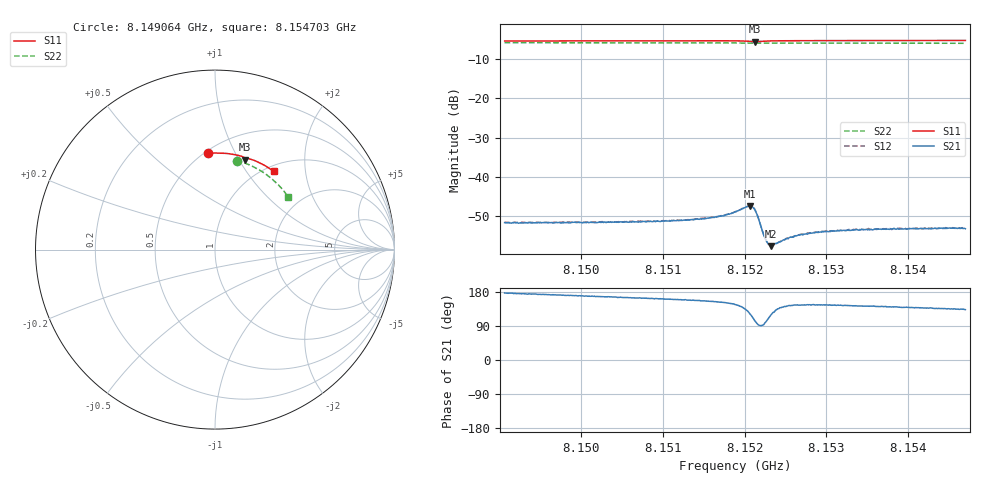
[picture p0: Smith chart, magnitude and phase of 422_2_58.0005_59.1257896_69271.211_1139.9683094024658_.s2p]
#  HZ  S  RI  R  50.00
! Rohde & Schwarz Vector Network Analyzer
! Rohde-Schwarz,ZNB20-2Port,1311601062101988,3.16
! Created: UTC 3/21/2024, 1:09:11 AM
! freq[Hz]  re:S11  im:S11  re:S21  im:S21  re:S12  im:S12  re:S22  im:S22
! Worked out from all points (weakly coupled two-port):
!   401 points, 8.149064 GHz to 8.154703 GHz, reference 50 ohm
!   highest |S21| = -47.36 dB at 8.152067 GHz (marker M1); lowest = -57.6 dB at 8.152321 GHz (marker M2)
!   lowest |S11| = -5.5 dB at 8.152123 GHz (marker M3), VSWR 3.24, Z = 38.1 + j52.9 ohm
!   |S11| at or under -10 dB: nowhere
!   |S22| runs from -6.0 to -5.8 dB; largest |S21 - S12| = 0.00011
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8.1490636e9  -0.0398 0.5354  -0.00263 0.000149  -0.00266 0.000192  0.1209 0.4963
8.1500083e9  0.026 0.538  -0.00258 0.000492  -0.00261 0.000557  0.1788 0.4772
8.150953e9  0.0917 0.5321  -0.0026 0.000872  -0.0026 0.0009  0.2337 0.4514
8.1513477e9  0.1192 0.5273  -0.00265 0.0011  -0.00267 0.00114  0.2554 0.4386
8.1515028e9  0.1301 0.5248  -0.00269 0.00119  -0.00272 0.00127  0.2639 0.4335
8.1517002e9  0.1444 0.5209  -0.00281 0.00146  -0.00283 0.00147  0.2744 0.4266
8.1518835e9  0.1579 0.5158  -0.00299 0.00199  -0.003 0.00202  0.2839 0.4197
8.1520245e9  0.1675 0.5076  -0.00277 0.00314  -0.00275 0.00317  0.291 0.4143
8.1520668e9  0.1684 0.5039  -0.00224 0.00365  -0.00222 0.00368  0.2931 0.4125
8.152095e9  0.1676 0.5021  -0.00169 0.00383  -0.00165 0.00387  0.2945 0.4114
8.1521232e9  0.1661 0.5011  -0.000973 0.00377  -0.000964 0.00383  0.2957 0.4105
8.1521655e9  0.1647 0.5028  -0.000181 0.00308  -0.000167 0.00309  0.2979 0.4091
8.1522501e9  0.1688 0.5078  -0.000234 0.00168  -0.000203 0.00168  0.3021 0.406
8.1522924e9  0.1726 0.5088  -0.000474 0.00131  -0.000448 0.00133  0.3042 0.4045
8.1523206e9  0.1751 0.5091  -0.000625 0.00117  -0.000641 0.0012  0.3059 0.4034
8.1523629e9  0.1787 0.5089  -0.000822 0.00112  -0.00087 0.00111  0.3079 0.4016
8.1525039e9  0.19 0.5068  -0.00127 0.00103  -0.00129 0.00104  0.3149 0.3959
8.1526449e9  0.2001 0.5036  -0.00149 0.00102  -0.00148 0.00107  0.3218 0.3902
8.1528282e9  0.2126 0.4991  -0.00161 0.00109  -0.00161 0.00114  0.3304 0.3824
8.1531807e9  0.2356 0.4895  -0.00172 0.00122  -0.00171 0.00124  0.3465 0.367
8.1537728e9  0.2725 0.471  -0.00167 0.00138  -0.0017 0.00144  0.3719 0.3397
8.1547034e9  0.3271 0.4368  -0.0015 0.00162  -0.00154 0.00163  0.4075 0.2936
